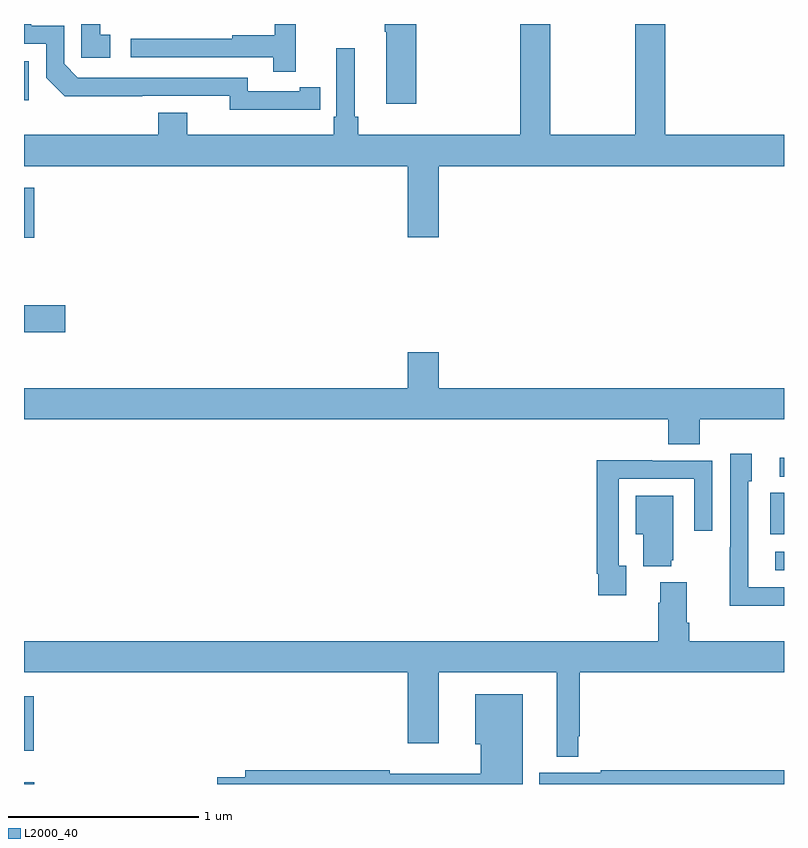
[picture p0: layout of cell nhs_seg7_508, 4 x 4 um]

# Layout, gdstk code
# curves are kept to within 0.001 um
import gdstk
lib = gdstk.Library(unit=1e-6, precision=1e-09)
def R(c, l, rs):  # rectangles x0, y0, x1, y1
    for r in rs: c.add(gdstk.rectangle(r[:2], r[2:], *l))
def P(c, l, *ps):  # polygons
    for p in ps: c.add(gdstk.Polygon(p, *l))
L2000_40 = (2000, 40)

nhs_seg7_508 = lib.new_cell('nhs_seg7_508')
R(nhs_seg7_508, L2000_40, [(151,1028,151.054,1028.008), (151,1028.174,151.052,1028.461), (154.953,1029.126,155,1029.222), (154.928,1029.314,155,1029.533), (154.977,1029.618,155,1029.716), (151,1030.378,151.216,1030.52), (151,1030.874,151.054,1031.137), (151,1031.598,151.026,1031.805)])
P(nhs_seg7_508, L2000_40, [(152.45,1031.55),(152.558,1031.55),(152.558,1031.666),(152.45,1031.666),(152.45,1031.646),(152.178,1031.646),(152.178,1031.718),(151.284,1031.718),(151.212,1031.79),(151.212,1031.991),(151.039,1031.991),(151.039,1032),(151,1032),(151,1031.895),(151.116,1031.895),(151.116,1031.718),(151.214,1031.621),(152.082,1031.622),(152.082,1031.549)],
  [(151.453,1031.943),(151.4,1031.943),(151.4,1032),(151.302,1032),(151.302,1031.823),(151.453,1031.823)],
  [(152.429,1032),(152.319,1032),(152.319,1031.942),(152.095,1031.942),(152.095,1031.922),(151.563,1031.922),(151.563,1031.826),(152.311,1031.826),(152.311,1031.748),(152.429,1031.748)],
  [(153.184,1031.252),(155,1031.252),(155,1031.416),(154.376,1031.416),(154.376,1032),(154.216,1032),(154.216,1031.416),(153.771,1031.416),(153.771,1032),(153.611,1032),(153.611,1031.416),(152.759,1031.416),(152.759,1031.512),(152.74,1031.512),(152.74,1031.872),(152.643,1031.872),(152.643,1031.512),(152.63,1031.512),(152.63,1031.416),(151.858,1031.416),(151.858,1031.533),(151.706,1031.533),(151.706,1031.416),(151,1031.416),(151,1031.252),(153.02,1031.252),(153.02,1030.878),(153.184,1030.878)],
  [(153.065,1032),(152.899,1032),(152.899,1031.959),(152.906,1031.959),(152.906,1031.58),(153.065,1031.58)],
  [(154.556,1029.92),(155,1029.92),(155,1030.084),(153.184,1030.084),(153.184,1030.273),(153.02,1030.273),(153.02,1030.084),(151,1030.084),(151,1029.92),(154.391,1029.92),(154.391,1029.787),(154.556,1029.787)],
  [(155,1029.036),(154.812,1029.036),(154.812,1029.594),(154.831,1029.594),(154.831,1029.739),(154.716,1029.739),(154.716,1029.245),(154.714,1029.245),(154.714,1028.939),(155,1028.939)],
  [(154.171,1029.15),(154.131,1029.15),(154.131,1029.606),(154.527,1029.606),(154.527,1029.333),(154.623,1029.333),(154.623,1029.702),(154.307,1029.702),(154.307,1029.704),(154.015,1029.704),(154.015,1029.106),(154.023,1029.106),(154.023,1028.994),(154.171,1028.994)],
  [(154.406,1029.177),(154.417,1029.177),(154.417,1029.517),(154.22,1029.517),(154.22,1029.314),(154.259,1029.314),(154.259,1029.146),(154.406,1029.146)],
  [(153.918,1028.251),(153.925,1028.251),(153.925,1028.588),(155,1028.588),(155,1028.752),(154.502,1028.752),(154.502,1028.848),(154.489,1028.848),(154.489,1029.061),(154.349,1029.061),(154.349,1028.954),(154.337,1028.954),(154.337,1028.752),(151,1028.752),(151,1028.588),(153.02,1028.588),(153.02,1028.214),(153.184,1028.214),(153.184,1028.588),(153.803,1028.588),(153.803,1028.144),(153.918,1028.144)],
  [(153.625,1028.473),(153.374,1028.473),(153.374,1028.21),(153.404,1028.21),(153.404,1028.053),(152.924,1028.053),(152.924,1028.072),(152.165,1028.072),(152.165,1028.036),(152.016,1028.036),(152.016,1028),(153.625,1028)],
  [(155,1028.072),(154.036,1028.072),(154.036,1028.059),(153.713,1028.059),(153.713,1028),(155,1028)])

lib.write_gds('nhs_seg7_508.gds')
